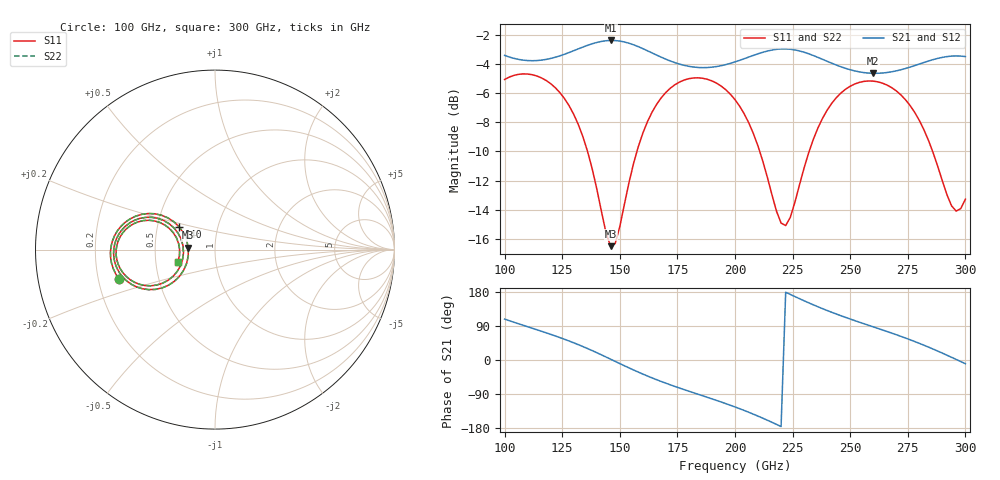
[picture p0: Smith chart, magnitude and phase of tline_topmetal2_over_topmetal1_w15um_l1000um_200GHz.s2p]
#  GHZ S DB R 50
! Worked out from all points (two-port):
!   101 points, 100 GHz to 300 GHz, reference 50 ohm
!   highest |S21| = -2.39 dB at 146 GHz (marker M1); lowest = -4.6 dB at 260 GHz (marker M2)
!   |S21| within 3 dB of the highest: start of sweep to end of sweep
!   lowest |S11| = -16.5 dB at 146 GHz (marker M3), VSWR 1.35, Z = 37 + j0.76 ohm
!   |S11| at or under -10 dB: 136 GHz to 157.4 GHz (21.44 GHz wide, 14.6 % of centre); 210.7 GHz to 232.2 GHz (21.46 GHz wide, 9.69 % of centre); 285.8 GHz to end of sweep
!   |S22| runs from -16.5 to -4.7 dB; largest |S21 - S12| = 6.9e-14
!   S11 on the Smith chart (normalised r, x): 100 GHz: 0.29, -0.14; 140 GHz: 0.65, +0.17; 300 GHz: 0.65, -0.09
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100  -5.07 -162.7  -3.41 107.9  -3.41 107.9  -5.07 -162.8
108  -4.68 -175.5  -3.74 91.7  -3.74 91.7  -4.68 -175.5
116  -4.96 172.2  -3.74 75.9  -3.74 75.9  -4.96 172.2
126  -6.38 157.2  -3.33 54.7  -3.33 54.7  -6.38 157.2
134  -9.00 147.3  -2.84 35.4  -2.84 35.4  -9.00 147.3
140  -12.56 147.7  -2.53 19.3  -2.53 19.3  -12.58 147.6
146  -16.50 176.2  -2.39 2.2  -2.39 2.2  -16.54 176.1
148  -16.32 -167.5  -2.39 -3.6  -2.39 -3.6  -16.36 -167.4
158  -9.69 -142.6  -2.81 -31.9  -2.81 -31.9  -9.69 -142.5
168  -6.32 -154.5  -3.54 -56.7  -3.54 -56.7  -6.32 -154.4
184  -4.95 -177.9  -4.24 -90.5  -4.24 -90.5  -4.95 -177.9
200  -6.45 159.8  -3.86 -123.9  -3.86 -123.9  -6.45 159.9
210  -9.64 150.4  -3.30 -148.1  -3.30 -148.1  -9.64 150.5
218  -14.10 162.8  -3.00 -169.9  -3.00 -169.9  -14.07 162.9
222  -15.09 -174.8  -2.97 178.7  -2.97 178.7  -15.06 -174.8
234  -9.17 -147.3  -3.42 145.6  -3.42 145.6  -9.16 -147.4
246  -5.99 -160.5  -4.19 116.8  -4.19 116.8  -5.99 -160.5
260  -5.18 -179.5  -4.64 87.5  -4.64 87.5  -5.18 -179.6
268  -5.62 169.9  -4.54 71.0  -4.54 71.0  -5.63 169.8
284  -9.25 153.9  -3.80 34.0  -3.80 34.0  -9.27 153.8
294  -13.74 170.6  -3.46 7.1  -3.46 7.1  -13.77 170.5
300  -13.28 -161.9  -3.49 -9.7  -3.49 -9.7  -13.31 -161.8
